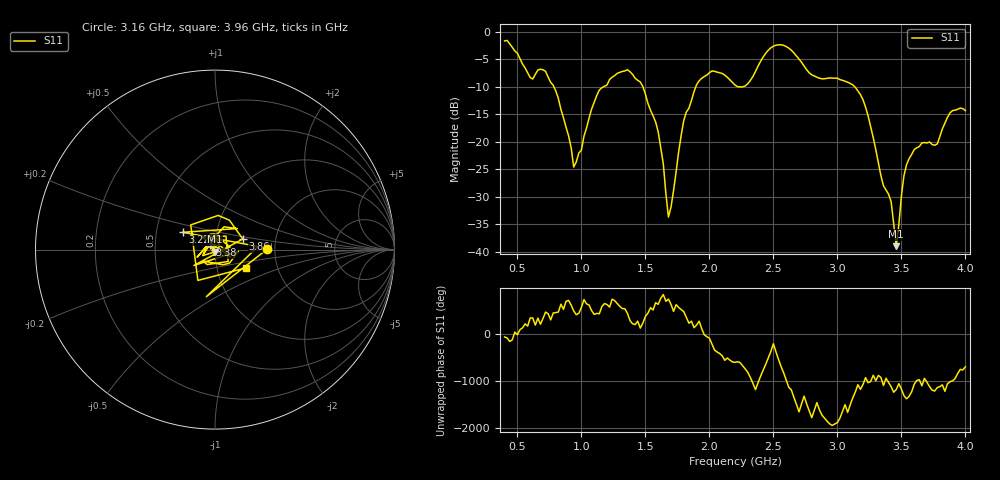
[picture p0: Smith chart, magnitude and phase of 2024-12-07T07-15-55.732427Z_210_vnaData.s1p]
!Created with skrf (http://scikit-rf.org).
# Hz S RI R 50.0
!freq ReS11 ImS11
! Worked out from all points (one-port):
!   181 points, 400 MHz to 4 GHz, reference 50 ohm
!   lowest |S11| = -39.0 dB at 3.46 GHz (marker M1), VSWR 1.02, Z = 49.7 - j1.08 ohm
!   |S11| at or under -10 dB: 784.4 MHz to 1.177 GHz (392.2 MHz wide, 40 % of centre); 1.48 GHz to 1.895 GHz (414.4 MHz wide, 24.6 % of centre); 3.134 GHz to end of sweep (the widest 3 of 4)
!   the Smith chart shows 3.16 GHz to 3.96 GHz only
!   S11 on the Smith chart (normalised r, x): 3.16 GHz: 1.81, +0.00; 3.22 GHz: 0.68, +0.14; 3.38 GHz: 0.95, +0.05; 3.86 GHz: 1.36, +0.16; 3.96 GHz: 1.39, -0.29
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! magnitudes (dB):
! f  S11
! 400 MHz  -1.7
! 600 MHz  -8.4
! 720 MHz  -7.2
! 860 MHz  -15.7
! 940 MHz  -24.6
! 1.14 GHz  -10.6
! 1.3 GHz  -7.4
! 1.46 GHz  -9.2
! 1.58 GHz  -16.5
! 1.64 GHz  -24.1
! 1.68 GHz  -33.7
! 1.76 GHz  -21.8
! 1.92 GHz  -9.0
! 2.2 GHz  -9.7
! 2.5 GHz  -2.7
! 2.66 GHz  -3.9
! 3.1 GHz  -9.4
! 3.16 GHz  -10.8
! 3.22 GHz  -13.8
! 3.38 GHz  -28.8
! 3.42 GHz  -31.0
! 3.46 GHz  -39.0
! 3.52 GHz  -26.2
! 3.56 GHz  -23.1
! 3.78 GHz  -20.4
! 3.86 GHz  -15.6
! 3.96 GHz  -13.9
! 4 GHz  -14.4
